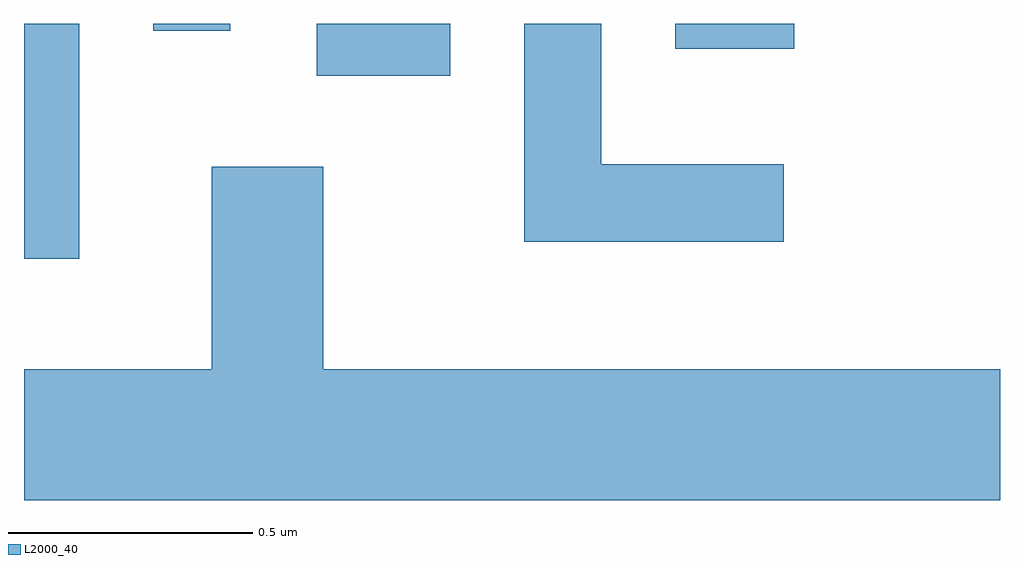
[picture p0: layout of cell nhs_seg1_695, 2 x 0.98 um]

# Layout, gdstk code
import gdstk
lib = gdstk.Library(unit=1e-6, precision=1e-09)
def R(c, l, rs):  # rectangles x0, y0, x1, y1
    for r in rs: c.add(gdstk.rectangle(r[:2], r[2:], *l))
def P(c, l, *ps):  # polygons
    for p in ps: c.add(gdstk.Polygon(p, *l))
L2000_40 = (2000, 40)

nhs_seg1_695 = lib.new_cell('nhs_seg1_695')
R(nhs_seg1_695, L2000_40, [(190.611,851.231,190.724,851.712), (191.211,851.606,191.484,851.712), (191.946,851.661,192.189,851.712), (190.876,851.698,191.034,851.712)])
P(nhs_seg1_695, L2000_40, [(192.168,851.424),(191.794,851.424),(191.794,851.712),(191.636,851.712),(191.636,851.266),(192.168,851.266)],
  [(192.611,851.004),(191.224,851.004),(191.224,851.419),(190.996,851.419),(190.996,851.004),(190.611,851.004),(190.611,850.736),(192.611,850.736)])

lib.write_gds('nhs_seg1_695.gds')
